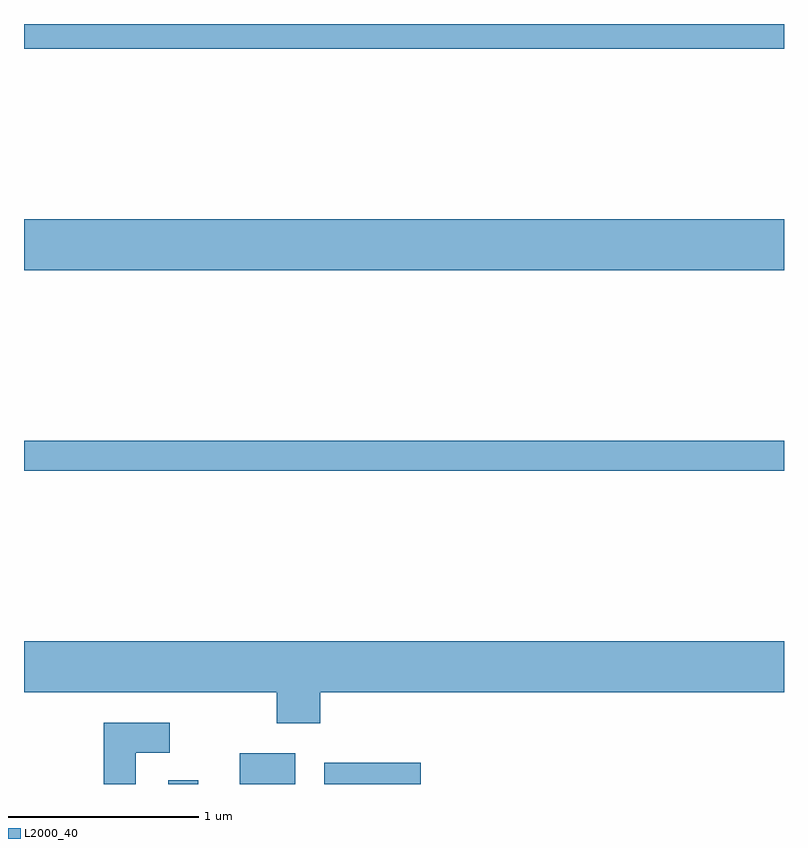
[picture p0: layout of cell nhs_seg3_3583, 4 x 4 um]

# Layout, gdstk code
import gdstk
lib = gdstk.Library(unit=1e-6, precision=1e-09)
def R(c, l, rs):  # rectangles x0, y0, x1, y1
    for r in rs: c.add(gdstk.rectangle(r[:2], r[2:], *l))
def P(c, l, *ps):  # polygons
    for p in ps: c.add(gdstk.Polygon(p, *l))
L2000_40 = (2000, 40)

nhs_seg3_3583 = lib.new_cell('nhs_seg3_3583')
R(nhs_seg3_3583, L2000_40, [(290.371,1209.892,290.529,1209.913), (290.746,1209.892,291.039,1210.054), (291.191,1209.892,291.698,1210.004), (289.611,1211.541,293.611,1211.699), (289.611,1212.596,293.611,1212.864), (289.611,1213.761,293.611,1213.892)])
P(nhs_seg3_3583, L2000_40, [(291.169,1210.376),(293.611,1210.376),(293.611,1210.644),(289.611,1210.644),(289.611,1210.376),(290.941,1210.376),(290.941,1210.211),(291.169,1210.211)],
  [(290.199,1210.056),(290.378,1210.056),(290.378,1210.214),(290.031,1210.214),(290.031,1209.892),(290.199,1209.892)])

lib.write_gds('nhs_seg3_3583.gds')
